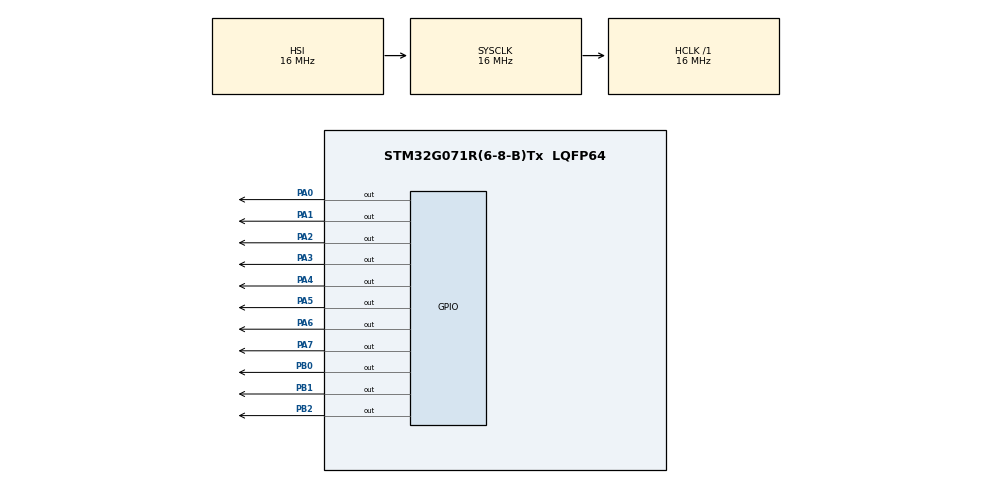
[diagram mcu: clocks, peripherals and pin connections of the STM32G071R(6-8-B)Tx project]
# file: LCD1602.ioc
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Mcu.Family=STM32G0
Mcu.Name=STM32G071R(6-8-B)Tx
Mcu.Package=LQFP64
PA0.Signal=GPIO_Output
PA1.Signal=GPIO_Output
PA2.Signal=GPIO_Output
PA3.Signal=GPIO_Output
PA4.Signal=GPIO_Output
PA5.Signal=GPIO_Output
PA6.Signal=GPIO_Output
PA7.Signal=GPIO_Output
PB0.Signal=GPIO_Output
PB1.Signal=GPIO_Output
PB2.Signal=GPIO_Output
ProjectManager.HeapSize=0x200
ProjectManager.StackSize=0x400
ProjectManager.TargetToolchain=MDK-ARM V5.27
RCC.AHBFreq_Value=16000000
RCC.CortexFreq_Value=16000000
RCC.EXTERNAL_CLOCK_VALUE=48000
RCC.HCLKFreq_Value=16000000
RCC.HSE_VALUE=8000000
RCC.HSI_VALUE=16000000
RCC.LSE_VALUE=32768
RCC.SYSCLKFreq_VALUE=16000000
RCC.VCOOutputFreq_Value=128000000
VP_SYS_VS_DBSignals.Mode=DisableDeadBatterySignals
board=custom

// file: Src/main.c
/* USER CODE BEGIN Header */
/**
  ******************************************************************************
  * @file           : main.c
  * @brief          : Main program body
  ******************************************************************************
  * @attention
  *
  * <h2><center>&copy; Copyright (c) 2021 STMicroelectronics.
  * All rights reserved.</center></h2>
  *
  * This software component is licensed by ST under BSD 3-Clause license,
  * the "License"; You may not use this file except in compliance with the
  * License. You may obtain a copy of the License at:
  *                        opensource.org/licenses/BSD-3-Clause
  *
  ******************************************************************************
  */
/* USER CODE END Header */
#include "main.h"
#include "stdio.h"
#define u8  unsigned char
#define u16 unsigned int

// void lcdwait(void);
void lcdwritecmd(unsigned char cmd);
void lcdwritedata(unsigned char dat);
void lcdinit(void);
void lcdsetcursor(unsigned char x, unsigned char y);
void lcdshowstr(unsigned char x, unsigned char y,
	              unsigned char *str);

void SystemClock_Config(void);
static void MX_GPIO_Init(void);

int main(void)
{

  /* MCU Configuration--------------------------------------------------------*/

  /* Reset of all peripherals, Initializes the Flash interface and the Systick. */
  HAL_Init();

  /* Configure the system clock */
  SystemClock_Config();

  /* Initialize all configured peripherals */
  MX_GPIO_Init();

  /* Infinite loop */
  /* USER CODE BEGIN WHILE */

	// EN_GOL_INT;
  // lcdwait();
	lcdinit();
	HAL_Delay(10);
	lcdshowstr(0,0,"Xiao Xin Xin");
	lcdshowstr(5,1,"V");
  while (1)
  {
    /* USER CODE END WHILE */
		HAL_GPIO_WritePin(GPIOA,GPIO_PIN_5,GPIO_PIN_SET);
		HAL_Delay(100);
		HAL_GPIO_WritePin(GPIOA,GPIO_PIN_5,GPIO_PIN_RESET);
		HAL_Delay(100);
  }
}

void SystemClock_Config(void)
{
  RCC_OscInitTypeDef RCC_OscInitStruct = {0};
  RCC_ClkInitTypeDef RCC_ClkInitStruct = {0};

  /** Configure the main internal regulator output voltage
  */
  HAL_PWREx_ControlVoltageScaling(PWR_REGULATOR_VOLTAGE_SCALE1);
  /** Initializes the RCC Oscillators according to the specified parameters
  * in the RCC_OscInitTypeDef structure.
  */
  RCC_OscInitStruct.OscillatorType = RCC_OSCILLATORTYPE_HSI;
  RCC_OscInitStruct.HSIState = RCC_HSI_ON;
  RCC_OscInitStruct.HSIDiv = RCC_HSI_DIV1;
  RCC_OscInitStruct.HSICalibrationValue = RCC_HSICALIBRATION_DEFAULT;
  RCC_OscInitStruct.PLL.PLLState = RCC_PLL_NONE;
  if (HAL_RCC_OscConfig(&RCC_OscInitStruct) != HAL_OK)
  {
    Error_Handler();
  }
  /** Initializes the CPU, AHB and APB buses clocks
  */
  RCC_ClkInitStruct.ClockType = RCC_CLOCKTYPE_HCLK|RCC_CLOCKTYPE_SYSCLK
                              |RCC_CLOCKTYPE_PCLK1;
  RCC_ClkInitStruct.SYSCLKSource = RCC_SYSCLKSOURCE_HSI;
  RCC_ClkInitStruct.AHBCLKDivider = RCC_SYSCLK_DIV1;
  RCC_ClkInitStruct.APB1CLKDivider = RCC_HCLK_DIV1;

  if (HAL_RCC_ClockConfig(&RCC_ClkInitStruct, FLASH_LATENCY_0) != HAL_OK)
  {
    Error_Handler();
  }
}

static void MX_GPIO_Init(void)
{
  GPIO_InitTypeDef GPIO_InitStruct = {0};

  /* GPIO Ports Clock Enable */
  __HAL_RCC_GPIOA_CLK_ENABLE();
  __HAL_RCC_GPIOB_CLK_ENABLE();

  /*Configure GPIO pin Output Level */
  HAL_GPIO_WritePin(GPIOA, GPIO_PIN_0|GPIO_PIN_1|GPIO_PIN_2|GPIO_PIN_3
                          |GPIO_PIN_4|GPIO_PIN_5|GPIO_PIN_6|GPIO_PIN_7, GPIO_PIN_RESET);

  /*Configure GPIO pin Output Level */
  HAL_GPIO_WritePin(GPIOB, GPIO_PIN_0|GPIO_PIN_1|GPIO_PIN_2, GPIO_PIN_RESET);

  /*Configure GPIO pins : PA0 PA1 PA2 PA3
                           PA4 PA5 PA6 PA7 */
  GPIO_InitStruct.Pin = GPIO_PIN_0|GPIO_PIN_1|GPIO_PIN_2|GPIO_PIN_3
                          |GPIO_PIN_4|GPIO_PIN_5|GPIO_PIN_6|GPIO_PIN_7;
  GPIO_InitStruct.Mode = GPIO_MODE_OUTPUT_PP;
  GPIO_InitStruct.Pull = GPIO_NOPULL;
  GPIO_InitStruct.Speed = GPIO_SPEED_FREQ_LOW;
  HAL_GPIO_Init(GPIOA, &GPIO_InitStruct);

  /*Configure GPIO pins : PB0 PB1 PB2 */
  GPIO_InitStruct.Pin = GPIO_PIN_0|GPIO_PIN_1|GPIO_PIN_2;
  GPIO_InitStruct.Mode = GPIO_MODE_OUTPUT_PP;
  GPIO_InitStruct.Pull = GPIO_NOPULL;
  GPIO_InitStruct.Speed = GPIO_SPEED_FREQ_LOW;
  HAL_GPIO_Init(GPIOB, &GPIO_InitStruct);

}

/* USER CODE BEGIN 4 */

void lcdwritecmd(unsigned char cmd)
{
	// lcdwait();
	HAL_Delay(10);
	HAL_GPIO_WritePin(GPIOB,GPIO_PIN_0,GPIO_PIN_RESET);// LCD1602_RS=0;
	HAL_GPIO_WritePin(GPIOB,GPIO_PIN_1,GPIO_PIN_RESET); // LCD1602_RW=0;
	GPIOA->ODR=cmd;
	HAL_GPIO_WritePin(GPIOB,GPIO_PIN_2,GPIO_PIN_SET);// LCD1602_E=1;
	HAL_Delay(10);
  HAL_GPIO_WritePin(GPIOB,GPIO_PIN_2,GPIO_PIN_RESET);//	LCD1602_E=0;
}

void lcdwritedata(unsigned char dat)
{
  //	lcdwait();
  HAL_Delay(10);
  HAL_GPIO_WritePin(GPIOB,GPIO_PIN_0,GPIO_PIN_SET);//	LCD1602_RS=1;
	HAL_GPIO_WritePin(GPIOB,GPIO_PIN_1,GPIO_PIN_RESET);// LCD1602_RW=0;
  GPIOA->ODR=dat;
	HAL_GPIO_WritePin(GPIOB,GPIO_PIN_2,GPIO_PIN_SET);// LCD1602_E=1;
	HAL_Delay(10);
	HAL_GPIO_WritePin(GPIOB,GPIO_PIN_2,GPIO_PIN_RESET);// LCD1602_E=0;
}

void lcdinit()
{
	lcdwritecmd(0x38); //2hang moshi 5*8dian zhen 8wei kuandu
	lcdwritecmd(0x0c); //dakai xianshi guanbi guangbiao
	lcdwritecmd(0x06); //wenzi budong dizhi zidong jiayi
	lcdwritecmd(0x01); //qingping
}

void lcdsetcursor(unsigned char x, unsigned char y)
{
	unsigned char address;
	if(y==0)            //diyihang cunchuqi dizhi 00kaishi
		address=0x00+x;
	else                //dierhang cunchuqi dizhi  40kaishi
		address=0x40+x;
	lcdwritecmd(address|0x80); //xie cunchuqi dizhi
}

void lcdshowstr(unsigned char x, unsigned char y, unsigned char *str)
{                                //zai x,y chu xianshi zifu
	lcdsetcursor(x,y);
	while((*str)!='\0')  //bushi zifuchuan jiewei jixu
	{
		 lcdwritedata(*str); //xieshujv
		 str++;              //zhizhen jiayi zhixiang xiayige zifu
	}
}

/* USER CODE END 4 */

void Error_Handler(void)
{
  __disable_irq();
  while (1)
  {
  }
}

/************************ (C) COPYRIGHT STMicroelectronics *****END OF FILE****/
